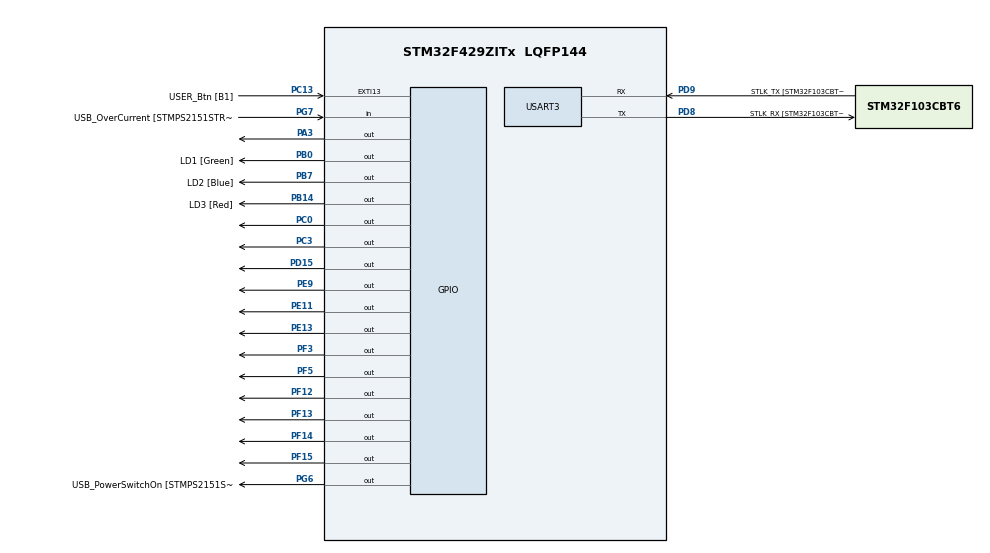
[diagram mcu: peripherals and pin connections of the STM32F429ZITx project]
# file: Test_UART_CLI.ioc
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ADC1.Channel-0\#ChannelRegularConversion=ADC_CHANNEL_TEMPSENSOR
ADC1.ContinuousConvMode=ENABLE
ADC1.NbrOfConversionFlag=1
ADC1.Rank-0\#ChannelRegularConversion=1
ADC1.SamplingTime-0\#ChannelRegularConversion=ADC_SAMPLETIME_3CYCLES
ADC1.master=1
Mcu.Family=STM32F4
Mcu.Name=STM32F429ZITx
Mcu.Package=LQFP144
NVIC.PriorityGroup=NVIC_PRIORITYGROUP_4
PA1.GPIO_Label=RMII_REF_CLK [LAN8742A-CZ-TR_REFCLK0]
PA1.Signal=ETH_REF_CLK
PA10.GPIO_Label=USB_ID
PA10.Signal=USB_OTG_FS_ID
PA11.GPIO_Label=USB_DM
PA11.Signal=USB_OTG_FS_DM
PA12.GPIO_Label=USB_DP
PA12.Signal=USB_OTG_FS_DP
PA13.GPIO_Label=TMS
PA13.Mode=Serial_Wire
PA13.Signal=SYS_JTMS-SWDIO
PA14.GPIO_Label=TCK
PA14.Mode=Serial_Wire
PA14.Signal=SYS_JTCK-SWCLK
PA2.GPIO_Label=RMII_MDIO [LAN8742A-CZ-TR_MDIO]
PA2.Signal=ETH_MDIO
PA3.Signal=GPIO_Output
PA7.GPIO_Label=RMII_CRS_DV [LAN8742A-CZ-TR_CRS_DV]
PA7.Signal=ETH_CRS_DV
PA8.GPIO_Label=USB_SOF [TP1]
PA8.Signal=USB_OTG_FS_SOF
PA9.GPIO_Label=USB_VBUS
PA9.Signal=USB_OTG_FS_VBUS
PB0.GPIO_Label=LD1 [Green]
PB0.Signal=GPIO_Output
PB13.GPIO_Label=RMII_TXD1 [LAN8742A-CZ-TR_TXD1]
PB13.Signal=ETH_TXD1
PB14.GPIO_Label=LD3 [Red]
PB14.Signal=GPIO_Output
PB7.GPIO_Label=LD2 [Blue]
PB7.Signal=GPIO_Output
PC0.Signal=GPIO_Output
PC1.GPIO_Label=RMII_MDC [LAN8742A-CZ-TR_MDC]
PC1.Signal=ETH_MDC
PC13.GPIO_Label=USER_Btn [B1]
PC13.Signal=GPXTI13
PC14/OSC32_IN.Signal=RCC_OSC32_IN
PC15/OSC32_OUT.Signal=RCC_OSC32_OUT
PC3.Signal=GPIO_Output
PC4.GPIO_Label=RMII_RXD0 [LAN8742A-CZ-TR_RXD0]
PC4.Signal=ETH_RXD0
PC5.GPIO_Label=RMII_RXD1 [LAN8742A-CZ-TR_RXD1]
PC5.Signal=ETH_RXD1
PD15.Signal=GPIO_Output
PD8.GPIO_Label=STLK_RX [STM32F103CBT6_PA3]
PD8.Mode=Asynchronous
PD8.Signal=USART3_TX
PD9.GPIO_Label=STLK_TX [STM32F103CBT6_PA2]
PD9.Mode=Asynchronous
PD9.Signal=USART3_RX
PE11.Signal=GPIO_Output
PE13.Signal=GPIO_Output
PE9.Signal=GPIO_Output
PF12.Signal=GPIO_Output
PF13.Signal=GPIO_Output
PF14.Signal=GPIO_Output
PF15.Signal=GPIO_Output
PF3.Signal=GPIO_Output
PF5.Signal=GPIO_Output
PG11.GPIO_Label=RMII_TX_EN [LAN8742A-CZ-TR_TXEN]
PG11.Signal=ETH_TX_EN
PG13.GPIO_Label=RMII_TXD0 [LAN8742A-CZ-TR_TXD0]
PG13.Signal=ETH_TXD0
PG6.GPIO_Label=USB_PowerSwitchOn [STMPS2151STR_EN]
PG6.Signal=GPIO_Output
PG7.GPIO_Label=USB_OverCurrent [STMPS2151STR_FAULT]
PG7.Signal=GPIO_Input
PH0/OSC_IN.GPIO_Label=MCO [STM32F103CBT6_PA8]
PH0/OSC_IN.Mode=HSE-External-Oscillator
PH0/OSC_IN.Signal=RCC_OSC_IN
PH1/OSC_OUT.Mode=HSE-External-Oscillator
PH1/OSC_OUT.Signal=RCC_OSC_OUT
ProjectManager.HeapSize=0x200
ProjectManager.StackSize=0x400
ProjectManager.TargetToolchain=STM32CubeIDE
RCC.48MHZClocksFreq_Value=36000000
RCC.AHBFreq_Value=72000000
RCC.APB1CLKDivider=RCC_HCLK_DIV2
RCC.APB1Freq_Value=36000000
RCC.APB1TimFreq_Value=72000000
RCC.APB2Freq_Value=72000000
RCC.APB2TimFreq_Value=72000000
RCC.CortexFreq_Value=72000000
RCC.HCLKFreq_Value=72000000
RCC.HSE_VALUE=8000000
RCC.HSI_VALUE=16000000
RCC.LSE_VALUE=32768
RCC.PLLM=4
RCC.PLLMUL=RCC_PLL_MUL9
RCC.PLLN=72
RCC.PLLSourceVirtual=RCC_PLLSOURCE_HSE
RCC.PRESCALERUSB=RCC_USBCLKSOURCE_PLL_DIV1_5
RCC.SYSCLKFreq_VALUE=72000000
RCC.SYSCLKSource=RCC_SYSCLKSOURCE_PLLCLK
RCC.SYSCLKSourceVirtual=RCC_SYSCLKSOURCE_PLLCLK
RCC.USBFreq_Value=48000000
RCC.VCOOutputFreq_Value=144000000
TIM1.Prescaler=72-1
USART3.VirtualMode=VM_ASYNC
VP_ADC1_TempSens_Input.Mode=IN-TempSens
VP_TIM1_VS_ClockSourceINT.Mode=Internal
board=NUCLEO-F429ZI

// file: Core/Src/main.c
/* USER CODE BEGIN Header */
/**
 ******************************************************************************
 * @file           : main.c
 * @brief          : Main program body
 ******************************************************************************
 * @attention
 *
 * <h2><center>&copy; Copyright (c) 2021 STMicroelectronics.
 * All rights reserved.</center></h2>
 *
 * This software component is licensed by ST under BSD 3-Clause license,
 * the "License"; You may not use this file except in compliance with the
 * License. You may obtain a copy of the License at:
 *                        opensource.org/licenses/BSD-3-Clause
 *
 ******************************************************************************
 */
#include <stdbool.h>

/* USER CODE END Header */
#include "main.h"
#include "adc.h"
#include "tim.h"
#include "usart.h"
#include "gpio.h"

/* USER CODE BEGIN Includes */

#include "Defines.h"
#include "drv/uart.h"

/* USER CODE END Includes */

void
SystemClock_Config (void);

/* USER CODE BEGIN 0 */

uint16_t ID = 0;

/* USER CODE END 0 */

int
main (void)
{
  /* USER CODE BEGIN 1 */
  u4_t u4_ProcItv_0 = 0; //Process 0 Interval
  u4_t u4_ProcItv_1 = 0; //Process 1 Interval

  /* USER CODE END 1 */

  /* MCU Configuration--------------------------------------------------------*/

  /* Reset of all peripherals, Initializes the Flash interface and the Systick. */
  HAL_Init ();

  /* Configure the system clock */
  SystemClock_Config ();

  /* Initialize all configured peripherals */
  MX_GPIO_Init ();
  MX_TIM1_Init ();
  MX_USART3_UART_Init ();
  MX_ADC1_Init ();
  /* USER CODE BEGIN 2 */

  Uart_Init ();

  HAL_TIM_Base_Start (&htim1);

  HAL_ADC_Start (&hadc1);

  printf_CLI ("Hello\r\n");

//  printf_debug_on();
  printf_debug_off ();
  printf_debug ("Hello Debug\r\n");
  printf_debug_time ("Hello Debug Time\r\n");

  /* USER CODE END 2 */

  /* Infinite loop */
  /* USER CODE BEGIN WHILE */
  u4_ProcItv_0 = 500;
  u4_ProcItv_1 = 0;

  while (1)
  {
    CLI_DebugProcess ();

    if (u4_ProcItv_0 == 1000)
    {
      printf_debug_time ("Process 0\r\n");
      u4_ProcItv_0 = 0;
    }
    else
      u4_ProcItv_0++;

    if (u4_ProcItv_1 == 4000)
    {
      printf_debug_time ("Process 1\r\n");
      UI_UpdateProcess ();
      u4_ProcItv_1 = 0;
    }
    else
      u4_ProcItv_1++;

    /* USER CODE END WHILE */

  }
}

void
SystemClock_Config (void)
{
  RCC_OscInitTypeDef RCC_OscInitStruct =
    { 0 };
  RCC_ClkInitTypeDef RCC_ClkInitStruct =
    { 0 };

  /** Configure the main internal regulator output voltage
   */
  __HAL_RCC_PWR_CLK_ENABLE();
  __HAL_PWR_VOLTAGESCALING_CONFIG(PWR_REGULATOR_VOLTAGE_SCALE3);
  /** Initializes the RCC Oscillators according to the specified parameters
   * in the RCC_OscInitTypeDef structure.
   */
  RCC_OscInitStruct.OscillatorType = RCC_OSCILLATORTYPE_HSE;
  RCC_OscInitStruct.HSEState = RCC_HSE_ON;
  RCC_OscInitStruct.PLL.PLLState = RCC_PLL_ON;
  RCC_OscInitStruct.PLL.PLLSource = RCC_PLLSOURCE_HSE;
  RCC_OscInitStruct.PLL.PLLM = 4;
  RCC_OscInitStruct.PLL.PLLN = 72;
  RCC_OscInitStruct.PLL.PLLP = RCC_PLLP_DIV2;
  RCC_OscInitStruct.PLL.PLLQ = 4;
  if (HAL_RCC_OscConfig (&RCC_OscInitStruct) != HAL_OK)
  {
    Error_Handler ();
  }
  /** Initializes the CPU, AHB and APB buses clocks
   */
  RCC_ClkInitStruct.ClockType = RCC_CLOCKTYPE_HCLK | RCC_CLOCKTYPE_SYSCLK
      | RCC_CLOCKTYPE_PCLK1 | RCC_CLOCKTYPE_PCLK2;
  RCC_ClkInitStruct.SYSCLKSource = RCC_SYSCLKSOURCE_PLLCLK;
  RCC_ClkInitStruct.AHBCLKDivider = RCC_SYSCLK_DIV1;
  RCC_ClkInitStruct.APB1CLKDivider = RCC_HCLK_DIV2;
  RCC_ClkInitStruct.APB2CLKDivider = RCC_HCLK_DIV1;

  if (HAL_RCC_ClockConfig (&RCC_ClkInitStruct, FLASH_LATENCY_2) != HAL_OK)
  {
    Error_Handler ();
  }
}

void
Error_Handler (void)
{
  /* USER CODE BEGIN Error_Handler_Debug */
  /* User can add his own implementation to report the HAL error return state */
  __disable_irq ();
  while (1)
  {
  }
  /* USER CODE END Error_Handler_Debug */
}

/************************ (C) COPYRIGHT STMicroelectronics *****END OF FILE****/
